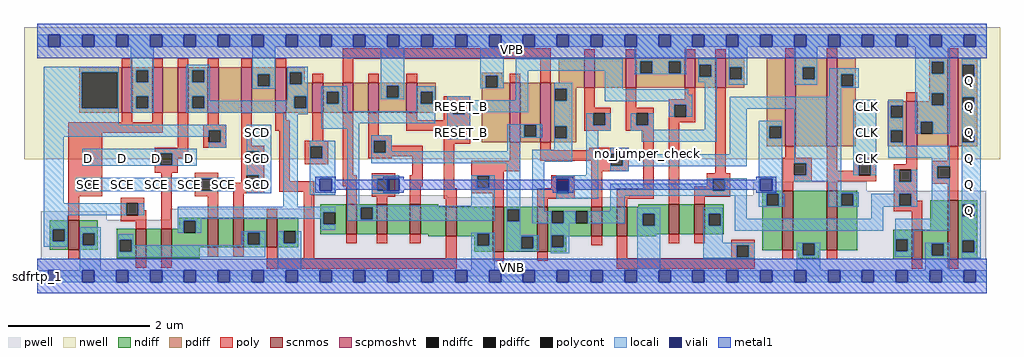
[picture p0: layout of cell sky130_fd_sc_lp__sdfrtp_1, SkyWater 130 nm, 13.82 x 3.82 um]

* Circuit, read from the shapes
.subckt sky130_fd_sc_lp__sdfrtp_1 CLK D RESET_B SCD SCE VGND VNB VPB VPWR Q
XM1 VGND SCE n1 VNB sky130_fd_pr__nfet_01v8 w=0.42 l=0.15
XM2 n2 n1 n3 VNB sky130_fd_pr__nfet_01v8 w=0.42 l=0.15
XM3 n4 D n2 VNB sky130_fd_pr__nfet_01v8 w=0.42 l=0.15
XM4 n5 SCE n4 VNB sky130_fd_pr__nfet_01v8 w=0.42 l=0.15
XM5 n3 SCD n5 VNB sky130_fd_pr__nfet_01v8 w=0.42 l=0.15
XM6 VGND RESET_B n3 VNB sky130_fd_pr__nfet_01v8 w=0.42 l=0.15
XM7 n6 n7 n4 VNB sky130_fd_pr__nfet_01v8 w=0.42 l=0.15
XM8 n8 n9 n6 VNB sky130_fd_pr__nfet_01v8 w=0.42 l=0.15
XM9 n10 n11 n8 VNB sky130_fd_pr__nfet_01v8 w=0.42 l=0.15
XM10 VGND RESET_B n10 VNB sky130_fd_pr__nfet_01v8 w=0.42 l=0.15
XM11 n11 n6 VGND VNB sky130_fd_pr__nfet_01v8 w=0.64 l=0.15
XM12 n12 n9 n11 VNB sky130_fd_pr__nfet_01v8 w=0.64 l=0.15
XM13 n13 n7 n12 VNB sky130_fd_pr__nfet_01v8 w=0.42 l=0.15
XM14 VGND n14 n13 VNB sky130_fd_pr__nfet_01v8 w=0.42 l=0.15
XM15 n15 RESET_B VGND VNB sky130_fd_pr__nfet_01v8 w=0.42 l=0.15
XM16 n14 n12 n15 VNB sky130_fd_pr__nfet_01v8 w=0.42 l=0.15
XM17 VGND n7 n9 VNB sky130_fd_pr__nfet_01v8 w=0.84 l=0.15
XM18 n7 CLK VGND VNB sky130_fd_pr__nfet_01v8 w=0.84 l=0.15
XM19 VGND n12 n16 VNB sky130_fd_pr__nfet_01v8 w=0.42 l=0.15
XM20 Q n16 VGND VNB sky130_fd_pr__nfet_01v8 w=0.84 l=0.15
XM21 VPWR SCE n1 VPB sky130_fd_pr__pfet_01v8_hvt w=0.64 l=0.15
XM22 n17 SCE VPWR VPB sky130_fd_pr__pfet_01v8_hvt w=0.64 l=0.15
XM23 n4 D n17 VPB sky130_fd_pr__pfet_01v8_hvt w=0.64 l=0.15
XM24 n18 n1 n4 VPB sky130_fd_pr__pfet_01v8_hvt w=0.64 l=0.15
XM25 VPWR SCD n18 VPB sky130_fd_pr__pfet_01v8_hvt w=0.64 l=0.15
XM26 n4 RESET_B VPWR VPB sky130_fd_pr__pfet_01v8_hvt w=0.64 l=0.15
XM27 n6 n9 n4 VPB sky130_fd_pr__pfet_01v8_hvt w=0.42 l=0.15
XM28 n19 n7 n6 VPB sky130_fd_pr__pfet_01v8_hvt w=0.42 l=0.15
XM29 VPWR n11 n19 VPB sky130_fd_pr__pfet_01v8_hvt w=0.42 l=0.15
XM30 n6 RESET_B VPWR VPB sky130_fd_pr__pfet_01v8_hvt w=0.42 l=0.15
XM31 n11 n6 VPWR VPB sky130_fd_pr__pfet_01v8_hvt w=0.84 l=0.15
XM32 n12 n7 n11 VPB sky130_fd_pr__pfet_01v8_hvt w=0.84 l=0.15
XM33 n20 n9 n12 VPB sky130_fd_pr__pfet_01v8_hvt w=0.42 l=0.15
XM34 VPWR n14 n20 VPB sky130_fd_pr__pfet_01v8_hvt w=0.42 l=0.15
XM35 n14 RESET_B VPWR VPB sky130_fd_pr__pfet_01v8_hvt w=0.42 l=0.15
XM36 VPWR n12 n14 VPB sky130_fd_pr__pfet_01v8_hvt w=0.42 l=0.15
XM37 VPWR n7 n9 VPB sky130_fd_pr__pfet_01v8_hvt w=1.26 l=0.15
XM38 n7 CLK VPWR VPB sky130_fd_pr__pfet_01v8_hvt w=1.26 l=0.15
XM39 VPWR n12 n16 VPB sky130_fd_pr__pfet_01v8_hvt w=0.64 l=0.15
XM40 Q n16 VPWR VPB sky130_fd_pr__pfet_01v8_hvt w=1.26 l=0.15
.ends

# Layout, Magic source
magic
tech sky130A
magscale 1 2
<< nwell >>
rect -38 331 2726 704
<< pwell >>
rect 2027 241 2348 267
rect 2027 229 2687 241
rect 775 223 1161 229
rect 1676 223 2687 229
rect 775 191 2687 223
rect 9 160 197 184
rect 376 160 2687 191
rect 9 49 2687 160
rect 0 0 2688 49
<< scnmos >>
rect 88 74 118 158
rect 278 50 308 134
rect 350 50 380 134
rect 482 81 512 165
rect 554 81 584 165
rect 649 81 679 165
rect 875 119 905 203
rect 961 119 991 203
rect 1055 119 1085 203
rect 1157 113 1187 197
rect 1290 69 1320 197
rect 1415 69 1445 197
rect 1569 113 1599 197
rect 1641 113 1671 197
rect 1788 119 1818 203
rect 1860 119 1890 203
rect 2110 73 2140 241
rect 2235 73 2265 241
rect 2476 47 2506 131
rect 2578 47 2608 215
<< scpmoshvt >>
rect 239 463 269 591
rect 325 463 355 591
rect 397 463 427 591
rect 483 463 513 591
rect 577 463 607 591
rect 674 463 704 591
rect 779 463 809 547
rect 865 463 895 547
rect 937 463 967 547
rect 1045 463 1075 547
rect 1338 379 1368 547
rect 1424 379 1454 547
rect 1548 533 1578 617
rect 1666 533 1696 617
rect 1833 533 1863 617
rect 1919 533 1949 617
rect 2118 367 2148 619
rect 2235 367 2265 619
rect 2461 367 2491 495
rect 2578 367 2608 619
<< ndiff >>
rect 35 133 88 158
rect 35 99 43 133
rect 77 99 88 133
rect 35 74 88 99
rect 118 122 171 158
rect 402 157 482 165
rect 402 134 414 157
rect 118 88 129 122
rect 163 88 171 122
rect 118 74 171 88
rect 225 103 278 134
rect 225 69 233 103
rect 267 69 278 103
rect 225 50 278 69
rect 308 50 350 134
rect 380 123 414 134
rect 448 123 482 157
rect 380 81 482 123
rect 512 81 554 165
rect 584 123 649 165
rect 584 89 595 123
rect 629 89 649 123
rect 584 81 649 89
rect 679 127 739 165
rect 679 93 697 127
rect 731 93 739 127
rect 679 81 739 93
rect 380 50 460 81
rect 801 181 875 203
rect 801 147 809 181
rect 843 147 875 181
rect 801 119 875 147
rect 905 195 961 203
rect 905 161 916 195
rect 950 161 961 195
rect 905 119 961 161
rect 991 119 1055 203
rect 1085 197 1135 203
rect 2053 233 2110 241
rect 1702 197 1788 203
rect 1085 119 1157 197
rect 1107 113 1157 119
rect 1187 120 1290 197
rect 1187 113 1245 120
rect 1237 86 1245 113
rect 1279 86 1290 120
rect 1237 69 1290 86
rect 1320 189 1415 197
rect 1320 155 1331 189
rect 1365 155 1415 189
rect 1320 111 1415 155
rect 1320 77 1370 111
rect 1404 77 1415 111
rect 1320 69 1415 77
rect 1445 183 1569 197
rect 1445 149 1456 183
rect 1490 149 1524 183
rect 1558 149 1569 183
rect 1445 115 1569 149
rect 1445 81 1456 115
rect 1490 113 1569 115
rect 1599 113 1641 197
rect 1671 177 1788 197
rect 1671 143 1714 177
rect 1748 143 1788 177
rect 1671 119 1788 143
rect 1818 119 1860 203
rect 1890 177 1943 203
rect 1890 143 1901 177
rect 1935 143 1943 177
rect 1890 119 1943 143
rect 2053 199 2065 233
rect 2099 199 2110 233
rect 1671 113 1752 119
rect 1490 81 1498 113
rect 1445 69 1498 81
rect 2053 73 2110 199
rect 2140 93 2235 241
rect 2140 73 2167 93
rect 2155 59 2167 73
rect 2201 73 2235 93
rect 2265 233 2322 241
rect 2265 199 2276 233
rect 2310 199 2322 233
rect 2265 73 2322 199
rect 2528 131 2578 215
rect 2423 105 2476 131
rect 2201 59 2213 73
rect 2155 51 2213 59
rect 2423 71 2431 105
rect 2465 71 2476 105
rect 2423 47 2476 71
rect 2506 91 2578 131
rect 2506 57 2533 91
rect 2567 57 2578 91
rect 2506 47 2578 57
rect 2608 203 2661 215
rect 2608 169 2619 203
rect 2653 169 2661 203
rect 2608 101 2661 169
rect 2608 67 2619 101
rect 2653 67 2661 101
rect 2608 47 2661 67
<< pdiff >>
rect 118 577 239 591
rect 118 475 126 577
rect 228 475 239 577
rect 118 463 239 475
rect 269 583 325 591
rect 269 549 280 583
rect 314 549 325 583
rect 269 509 325 549
rect 269 475 280 509
rect 314 475 325 509
rect 269 463 325 475
rect 355 463 397 591
rect 427 583 483 591
rect 427 549 438 583
rect 472 549 483 583
rect 427 509 483 549
rect 427 475 438 509
rect 472 475 483 509
rect 427 463 483 475
rect 513 463 577 591
rect 607 571 674 591
rect 607 537 624 571
rect 658 537 674 571
rect 607 463 674 537
rect 704 577 757 591
rect 704 543 715 577
rect 749 547 757 577
rect 1258 568 1316 576
rect 749 543 779 547
rect 704 509 779 543
rect 704 475 727 509
rect 761 475 779 509
rect 704 463 779 475
rect 809 522 865 547
rect 809 488 820 522
rect 854 488 865 522
rect 809 463 865 488
rect 895 463 937 547
rect 967 539 1045 547
rect 967 505 989 539
rect 1023 505 1045 539
rect 967 463 1045 505
rect 1075 522 1128 547
rect 1075 488 1086 522
rect 1120 488 1128 522
rect 1258 534 1270 568
rect 1304 547 1316 568
rect 1476 547 1548 617
rect 1304 534 1338 547
rect 1075 463 1128 488
rect 1258 379 1338 534
rect 1368 428 1424 547
rect 1368 394 1379 428
rect 1413 394 1424 428
rect 1368 379 1424 394
rect 1454 533 1548 547
rect 1578 533 1666 617
rect 1696 609 1833 617
rect 1696 575 1707 609
rect 1741 575 1788 609
rect 1822 575 1833 609
rect 1696 533 1833 575
rect 1863 599 1919 617
rect 1863 565 1874 599
rect 1908 565 1919 599
rect 1863 533 1919 565
rect 1949 592 2002 617
rect 1949 558 1960 592
rect 1994 558 2002 592
rect 1949 533 2002 558
rect 1454 531 1526 533
rect 1454 497 1465 531
rect 1499 497 1526 531
rect 1454 425 1526 497
rect 1454 391 1465 425
rect 1499 391 1526 425
rect 1454 379 1526 391
rect 2065 424 2118 619
rect 2065 390 2073 424
rect 2107 390 2118 424
rect 2065 367 2118 390
rect 2148 592 2235 619
rect 2148 558 2167 592
rect 2201 558 2235 592
rect 2148 367 2235 558
rect 2265 572 2318 619
rect 2265 538 2276 572
rect 2310 538 2318 572
rect 2265 367 2318 538
rect 2525 607 2578 619
rect 2525 573 2533 607
rect 2567 573 2578 607
rect 2525 518 2578 573
rect 2525 495 2533 518
rect 2408 483 2461 495
rect 2408 449 2416 483
rect 2450 449 2461 483
rect 2408 413 2461 449
rect 2408 379 2416 413
rect 2450 379 2461 413
rect 2408 367 2461 379
rect 2491 484 2533 495
rect 2567 484 2578 518
rect 2491 437 2578 484
rect 2491 403 2502 437
rect 2536 403 2578 437
rect 2491 367 2578 403
rect 2608 599 2661 619
rect 2608 565 2619 599
rect 2653 565 2661 599
rect 2608 506 2661 565
rect 2608 472 2619 506
rect 2653 472 2661 506
rect 2608 413 2661 472
rect 2608 379 2619 413
rect 2653 379 2661 413
rect 2608 367 2661 379
<< ndiffc >>
rect 43 99 77 133
rect 129 88 163 122
rect 233 69 267 103
rect 414 123 448 157
rect 595 89 629 123
rect 697 93 731 127
rect 809 147 843 181
rect 916 161 950 195
rect 1245 86 1279 120
rect 1331 155 1365 189
rect 1370 77 1404 111
rect 1456 149 1490 183
rect 1524 149 1558 183
rect 1456 81 1490 115
rect 1714 143 1748 177
rect 1901 143 1935 177
rect 2065 199 2099 233
rect 2167 59 2201 93
rect 2276 199 2310 233
rect 2431 71 2465 105
rect 2533 57 2567 91
rect 2619 169 2653 203
rect 2619 67 2653 101
<< pdiffc >>
rect 126 475 228 577
rect 280 549 314 583
rect 280 475 314 509
rect 438 549 472 583
rect 438 475 472 509
rect 624 537 658 571
rect 715 543 749 577
rect 727 475 761 509
rect 820 488 854 522
rect 989 505 1023 539
rect 1086 488 1120 522
rect 1270 534 1304 568
rect 1379 394 1413 428
rect 1707 575 1741 609
rect 1788 575 1822 609
rect 1874 565 1908 599
rect 1960 558 1994 592
rect 1465 497 1499 531
rect 1465 391 1499 425
rect 2073 390 2107 424
rect 2167 558 2201 592
rect 2276 538 2310 572
rect 2533 573 2567 607
rect 2416 449 2450 483
rect 2416 379 2450 413
rect 2533 484 2567 518
rect 2502 403 2536 437
rect 2619 565 2653 599
rect 2619 472 2653 506
rect 2619 379 2653 413
<< poly >>
rect 239 591 269 617
rect 325 591 355 617
rect 397 591 427 617
rect 483 591 513 617
rect 577 591 607 617
rect 674 591 704 617
rect 865 615 1454 645
rect 1548 617 1578 643
rect 1666 617 1696 643
rect 1833 617 1863 643
rect 1919 617 1949 643
rect 2118 619 2148 645
rect 2235 619 2265 645
rect 2578 619 2608 645
rect 779 547 809 573
rect 865 547 895 615
rect 937 547 967 573
rect 1045 547 1075 573
rect 1338 547 1368 573
rect 1424 547 1454 615
rect 1151 493 1226 509
rect 239 436 269 463
rect 325 436 355 463
rect 88 406 355 436
rect 88 276 183 406
rect 397 364 427 463
rect 483 429 513 463
rect 332 348 427 364
rect 469 413 535 429
rect 469 379 485 413
rect 519 379 535 413
rect 469 363 535 379
rect 577 369 607 463
rect 674 441 704 463
rect 674 411 715 441
rect 332 314 348 348
rect 382 334 427 348
rect 577 353 643 369
rect 382 314 398 334
rect 332 292 398 314
rect 577 319 593 353
rect 627 319 643 353
rect 88 242 133 276
rect 167 242 183 276
rect 88 226 183 242
rect 88 158 118 226
rect 236 206 302 222
rect 236 172 252 206
rect 286 186 302 206
rect 286 172 308 186
rect 236 156 308 172
rect 278 134 308 156
rect 350 134 380 292
rect 446 276 512 292
rect 446 242 462 276
rect 496 242 512 276
rect 577 285 643 319
rect 577 265 593 285
rect 446 226 512 242
rect 482 165 512 226
rect 554 251 593 265
rect 627 251 643 285
rect 554 235 643 251
rect 685 269 715 411
rect 779 383 809 463
rect 757 367 823 383
rect 757 333 773 367
rect 807 333 823 367
rect 757 317 823 333
rect 865 285 895 463
rect 937 399 967 463
rect 1045 441 1075 463
rect 1151 459 1176 493
rect 1210 459 1226 493
rect 1151 441 1226 459
rect 1045 425 1226 441
rect 1045 411 1176 425
rect 937 383 1003 399
rect 937 349 953 383
rect 987 369 1003 383
rect 1151 391 1176 411
rect 1210 391 1226 425
rect 1151 375 1226 391
rect 1548 477 1578 533
rect 1666 477 1696 533
rect 1833 501 1863 533
rect 1788 485 1863 501
rect 1548 461 1624 477
rect 1548 427 1574 461
rect 1608 427 1624 461
rect 1548 411 1624 427
rect 1666 461 1746 477
rect 1666 427 1696 461
rect 1730 427 1746 461
rect 1666 411 1746 427
rect 987 349 1091 369
rect 937 339 1091 349
rect 937 333 1003 339
rect 685 239 784 269
rect 865 255 905 285
rect 554 165 584 235
rect 649 165 679 191
rect 88 48 118 74
rect 482 55 512 81
rect 554 55 584 81
rect 649 51 679 81
rect 754 51 784 239
rect 875 203 905 255
rect 947 275 1013 291
rect 1061 285 1091 339
rect 947 241 963 275
rect 997 241 1013 275
rect 947 225 1013 241
rect 1055 255 1091 285
rect 961 203 991 225
rect 1055 203 1085 255
rect 1151 249 1181 375
rect 1338 327 1368 379
rect 1424 357 1454 379
rect 1563 357 1674 363
rect 1424 347 1674 357
rect 1424 327 1624 347
rect 1229 297 1368 327
rect 1569 313 1624 327
rect 1658 313 1674 347
rect 1569 297 1674 313
rect 1229 284 1320 297
rect 1229 250 1245 284
rect 1279 250 1320 284
rect 1151 219 1187 249
rect 1229 234 1320 250
rect 1455 269 1521 285
rect 1455 249 1471 269
rect 1157 197 1187 219
rect 1290 197 1320 234
rect 1415 235 1471 249
rect 1505 235 1521 269
rect 1415 219 1521 235
rect 1415 197 1445 219
rect 1569 197 1599 297
rect 1716 249 1746 411
rect 1641 219 1746 249
rect 1788 451 1804 485
rect 1838 451 1863 485
rect 1788 435 1863 451
rect 1641 197 1671 219
rect 1788 203 1818 435
rect 1919 291 1949 533
rect 2461 495 2491 521
rect 2118 335 2148 367
rect 2110 319 2193 335
rect 1896 275 1962 291
rect 1896 255 1912 275
rect 1860 241 1912 255
rect 1946 241 1962 275
rect 2110 285 2143 319
rect 2177 285 2193 319
rect 2110 269 2193 285
rect 2235 299 2265 367
rect 2310 319 2376 335
rect 2310 299 2326 319
rect 2235 285 2326 299
rect 2360 285 2376 319
rect 2461 317 2491 367
rect 2578 327 2608 367
rect 2235 269 2376 285
rect 2425 301 2491 317
rect 2110 241 2140 269
rect 2235 241 2265 269
rect 2425 267 2441 301
rect 2475 267 2491 301
rect 1860 225 1962 241
rect 1860 203 1890 225
rect 875 93 905 119
rect 961 93 991 119
rect 1055 93 1085 119
rect 1157 51 1187 113
rect 1569 87 1599 113
rect 278 24 308 50
rect 350 24 380 50
rect 649 21 1187 51
rect 1290 43 1320 69
rect 1415 43 1445 69
rect 1641 51 1671 113
rect 1788 93 1818 119
rect 1860 93 1890 119
rect 1965 87 2031 103
rect 1965 53 1981 87
rect 2015 53 2031 87
rect 1965 51 2031 53
rect 1641 21 2031 51
rect 2110 47 2140 73
rect 2425 233 2491 267
rect 2533 311 2608 327
rect 2533 277 2549 311
rect 2583 277 2608 311
rect 2533 261 2608 277
rect 2425 199 2441 233
rect 2475 213 2491 233
rect 2578 215 2608 261
rect 2475 199 2506 213
rect 2425 183 2506 199
rect 2476 131 2506 183
rect 2235 47 2265 73
rect 2476 21 2506 47
rect 2578 21 2608 47
<< polycont >>
rect 485 379 519 413
rect 348 314 382 348
rect 593 319 627 353
rect 133 242 167 276
rect 252 172 286 206
rect 462 242 496 276
rect 593 251 627 285
rect 773 333 807 367
rect 1176 459 1210 493
rect 953 349 987 383
rect 1176 391 1210 425
rect 1574 427 1608 461
rect 1696 427 1730 461
rect 963 241 997 275
rect 1624 313 1658 347
rect 1245 250 1279 284
rect 1471 235 1505 269
rect 1804 451 1838 485
rect 1912 241 1946 275
rect 2143 285 2177 319
rect 2326 285 2360 319
rect 2441 267 2475 301
rect 1981 53 2015 87
rect 2549 277 2583 311
rect 2441 199 2475 233
<< locali >>
rect 0 649 31 683
rect 65 649 127 683
rect 161 649 223 683
rect 257 649 319 683
rect 353 649 415 683
rect 449 649 511 683
rect 545 649 607 683
rect 641 649 703 683
rect 737 649 799 683
rect 833 649 895 683
rect 929 649 991 683
rect 1025 649 1087 683
rect 1121 649 1183 683
rect 1217 649 1279 683
rect 1313 649 1375 683
rect 1409 649 1471 683
rect 1505 649 1567 683
rect 1601 649 1663 683
rect 1697 649 1759 683
rect 1793 649 1855 683
rect 1889 649 1951 683
rect 1985 649 2047 683
rect 2081 649 2143 683
rect 2177 649 2239 683
rect 2273 649 2335 683
rect 2369 649 2431 683
rect 2465 649 2527 683
rect 2561 649 2623 683
rect 2657 649 2688 683
rect 18 577 230 593
rect 18 475 126 577
rect 228 475 230 577
rect 18 429 230 475
rect 264 583 330 649
rect 264 549 280 583
rect 314 549 330 583
rect 264 509 330 549
rect 264 475 280 509
rect 314 475 330 509
rect 264 463 330 475
rect 422 583 488 599
rect 422 549 438 583
rect 472 549 488 583
rect 422 509 488 549
rect 608 571 674 649
rect 608 537 624 571
rect 658 537 674 571
rect 608 531 674 537
rect 708 577 765 593
rect 708 543 715 577
rect 749 543 765 577
rect 422 475 438 509
rect 472 497 488 509
rect 708 509 765 543
rect 973 539 1039 649
rect 708 497 727 509
rect 472 475 727 497
rect 761 475 765 509
rect 422 463 765 475
rect 696 459 765 463
rect 804 522 877 538
rect 804 488 820 522
rect 854 488 877 522
rect 973 505 989 539
rect 1023 505 1039 539
rect 1254 568 1320 649
rect 973 501 1039 505
rect 1073 522 1126 538
rect 1254 534 1270 568
rect 1304 534 1320 568
rect 1254 532 1320 534
rect 1354 581 1657 615
rect 804 467 877 488
rect 1073 488 1086 522
rect 1120 488 1126 522
rect 1073 467 1126 488
rect 18 413 535 429
rect 18 395 485 413
rect 18 206 74 395
rect 519 379 535 413
rect 485 363 535 379
rect 127 348 451 361
rect 127 314 348 348
rect 382 314 451 348
rect 127 313 451 314
rect 593 353 662 429
rect 627 319 662 353
rect 593 285 662 319
rect 108 276 559 279
rect 108 242 133 276
rect 167 242 462 276
rect 496 242 559 276
rect 108 240 559 242
rect 627 251 662 285
rect 593 235 662 251
rect 18 172 252 206
rect 286 172 302 206
rect 696 197 737 459
rect 804 433 1126 467
rect 1160 498 1226 509
rect 1354 498 1390 581
rect 1160 493 1390 498
rect 1160 459 1176 493
rect 1210 464 1390 493
rect 1463 531 1515 547
rect 1463 497 1465 531
rect 1499 497 1515 531
rect 1210 459 1226 464
rect 804 417 911 433
rect 771 367 843 383
rect 771 333 773 367
rect 807 333 843 367
rect 771 276 843 333
rect 771 242 799 276
rect 833 242 843 276
rect 771 231 843 242
rect 877 199 911 417
rect 1160 425 1226 459
rect 945 383 1003 399
rect 1160 391 1176 425
rect 1210 391 1226 425
rect 1160 388 1226 391
rect 1331 428 1429 430
rect 1331 394 1379 428
rect 1413 394 1429 428
rect 1331 392 1429 394
rect 1463 425 1515 497
rect 1607 529 1657 581
rect 1691 609 1838 649
rect 1691 575 1707 609
rect 1741 575 1788 609
rect 1822 575 1838 609
rect 1691 571 1838 575
rect 1872 599 1924 615
rect 1872 565 1874 599
rect 1908 565 1924 599
rect 1872 549 1924 565
rect 1607 514 1843 529
rect 1607 495 1854 514
rect 1788 485 1854 495
rect 945 349 953 383
rect 987 354 1003 383
rect 1331 354 1367 392
rect 1463 391 1465 425
rect 1499 391 1515 425
rect 1463 358 1515 391
rect 987 349 1367 354
rect 945 320 1367 349
rect 947 276 1025 286
rect 947 275 991 276
rect 947 241 963 275
rect 997 241 1025 242
rect 947 233 1025 241
rect 1229 284 1295 286
rect 1229 250 1245 284
rect 1279 250 1295 284
rect 1229 199 1295 250
rect 398 181 843 197
rect 18 133 86 172
rect 398 163 809 181
rect 398 157 464 163
rect 18 99 43 133
rect 77 99 86 133
rect 18 83 86 99
rect 120 122 179 138
rect 398 123 414 157
rect 448 123 464 157
rect 803 147 809 163
rect 877 195 1295 199
rect 877 161 916 195
rect 950 161 1295 195
rect 877 157 1295 161
rect 1329 189 1367 320
rect 803 131 843 147
rect 1329 155 1331 189
rect 1365 155 1367 189
rect 579 123 645 127
rect 120 88 129 122
rect 163 88 179 122
rect 120 17 179 88
rect 229 103 271 119
rect 229 69 233 103
rect 267 87 271 103
rect 579 89 595 123
rect 629 89 645 123
rect 579 87 645 89
rect 267 69 645 87
rect 229 53 645 69
rect 681 93 697 127
rect 731 93 747 127
rect 681 17 747 93
rect 1229 120 1295 123
rect 1229 86 1245 120
rect 1279 86 1295 120
rect 1229 17 1295 86
rect 1329 115 1367 155
rect 1401 324 1515 358
rect 1554 427 1574 461
rect 1608 427 1624 461
rect 1554 411 1624 427
rect 1680 427 1696 461
rect 1730 427 1746 461
rect 1788 451 1804 485
rect 1838 451 1854 485
rect 1680 415 1746 427
rect 1890 415 1924 549
rect 1958 592 2010 649
rect 1958 558 1960 592
rect 1994 558 2010 592
rect 1958 542 2010 558
rect 2143 592 2208 649
rect 2143 558 2167 592
rect 2201 558 2208 592
rect 2486 607 2583 649
rect 2143 542 2208 558
rect 2242 572 2326 588
rect 2242 538 2276 572
rect 2310 538 2326 572
rect 2242 534 2326 538
rect 2486 573 2533 607
rect 2567 573 2583 607
rect 2242 508 2276 534
rect 1680 411 1924 415
rect 1401 183 1435 324
rect 1554 285 1588 411
rect 1712 381 1924 411
rect 1960 474 2276 508
rect 2486 518 2583 573
rect 1622 347 1674 363
rect 1622 313 1624 347
rect 1658 345 1674 347
rect 1960 345 2009 474
rect 1658 313 2009 345
rect 1622 311 2009 313
rect 2043 424 2109 440
rect 2043 390 2073 424
rect 2107 390 2109 424
rect 1622 297 1674 311
rect 1469 276 1588 285
rect 1469 235 1471 276
rect 1505 235 1588 276
rect 1896 275 2009 277
rect 1896 261 1912 275
rect 1469 219 1588 235
rect 1622 241 1912 261
rect 1946 241 2009 275
rect 1622 227 2009 241
rect 1622 183 1664 227
rect 1401 149 1456 183
rect 1490 149 1524 183
rect 1558 149 1664 183
rect 1698 177 1764 193
rect 1454 115 1506 149
rect 1329 111 1420 115
rect 1329 77 1370 111
rect 1404 77 1420 111
rect 1329 71 1420 77
rect 1454 81 1456 115
rect 1490 81 1506 115
rect 1454 65 1506 81
rect 1698 143 1714 177
rect 1748 143 1764 177
rect 1698 17 1764 143
rect 1885 177 1941 193
rect 1885 143 1901 177
rect 1935 143 1941 177
rect 1885 95 1941 143
rect 1975 163 2009 227
rect 2043 276 2109 390
rect 2043 242 2047 276
rect 2081 242 2109 276
rect 2143 319 2276 474
rect 2177 285 2276 319
rect 2310 319 2376 500
rect 2410 483 2452 499
rect 2410 449 2416 483
rect 2450 449 2452 483
rect 2410 413 2452 449
rect 2410 379 2416 413
rect 2450 379 2452 413
rect 2486 484 2533 518
rect 2567 484 2583 518
rect 2486 437 2583 484
rect 2486 403 2502 437
rect 2536 403 2583 437
rect 2617 599 2671 615
rect 2617 565 2619 599
rect 2653 565 2671 599
rect 2617 506 2671 565
rect 2617 472 2619 506
rect 2653 472 2671 506
rect 2617 413 2671 472
rect 2410 369 2452 379
rect 2617 379 2619 413
rect 2653 379 2671 413
rect 2410 335 2583 369
rect 2310 285 2326 319
rect 2360 285 2376 319
rect 2533 311 2583 335
rect 2143 269 2276 285
rect 2043 233 2109 242
rect 2240 237 2276 269
rect 2425 267 2441 301
rect 2475 267 2491 301
rect 2240 233 2326 237
rect 2425 233 2491 267
rect 2043 199 2065 233
rect 2099 199 2115 233
rect 2043 197 2115 199
rect 2240 199 2276 233
rect 2310 199 2326 233
rect 2240 197 2326 199
rect 2362 199 2441 233
rect 2475 199 2491 233
rect 2362 197 2491 199
rect 2533 277 2549 311
rect 2362 163 2396 197
rect 2533 163 2583 277
rect 1975 129 2396 163
rect 2430 129 2583 163
rect 2617 203 2671 379
rect 2617 169 2619 203
rect 2653 169 2671 203
rect 2430 105 2481 129
rect 1885 87 2031 95
rect 1885 53 1981 87
rect 2015 53 2031 87
rect 1885 51 2031 53
rect 2151 93 2217 95
rect 2151 59 2167 93
rect 2201 59 2217 93
rect 2151 17 2217 59
rect 2430 71 2431 105
rect 2465 71 2481 105
rect 2617 101 2671 169
rect 2430 55 2481 71
rect 2515 91 2583 95
rect 2515 57 2533 91
rect 2567 57 2583 91
rect 2515 17 2583 57
rect 2617 67 2619 101
rect 2653 67 2671 101
rect 2617 51 2671 67
rect 0 -17 31 17
rect 65 -17 127 17
rect 161 -17 223 17
rect 257 -17 319 17
rect 353 -17 415 17
rect 449 -17 511 17
rect 545 -17 607 17
rect 641 -17 703 17
rect 737 -17 799 17
rect 833 -17 895 17
rect 929 -17 991 17
rect 1025 -17 1087 17
rect 1121 -17 1183 17
rect 1217 -17 1279 17
rect 1313 -17 1375 17
rect 1409 -17 1471 17
rect 1505 -17 1567 17
rect 1601 -17 1663 17
rect 1697 -17 1759 17
rect 1793 -17 1855 17
rect 1889 -17 1951 17
rect 1985 -17 2047 17
rect 2081 -17 2143 17
rect 2177 -17 2239 17
rect 2273 -17 2335 17
rect 2369 -17 2431 17
rect 2465 -17 2527 17
rect 2561 -17 2623 17
rect 2657 -17 2688 17
<< viali >>
rect 31 649 65 683
rect 127 649 161 683
rect 223 649 257 683
rect 319 649 353 683
rect 415 649 449 683
rect 511 649 545 683
rect 607 649 641 683
rect 703 649 737 683
rect 799 649 833 683
rect 895 649 929 683
rect 991 649 1025 683
rect 1087 649 1121 683
rect 1183 649 1217 683
rect 1279 649 1313 683
rect 1375 649 1409 683
rect 1471 649 1505 683
rect 1567 649 1601 683
rect 1663 649 1697 683
rect 1759 649 1793 683
rect 1855 649 1889 683
rect 1951 649 1985 683
rect 2047 649 2081 683
rect 2143 649 2177 683
rect 2239 649 2273 683
rect 2335 649 2369 683
rect 2431 649 2465 683
rect 2527 649 2561 683
rect 2623 649 2657 683
rect 799 242 833 276
rect 991 275 1025 276
rect 991 242 997 275
rect 997 242 1025 275
rect 1471 269 1505 276
rect 1471 242 1505 269
rect 2047 242 2081 276
rect 31 -17 65 17
rect 127 -17 161 17
rect 223 -17 257 17
rect 319 -17 353 17
rect 415 -17 449 17
rect 511 -17 545 17
rect 607 -17 641 17
rect 703 -17 737 17
rect 799 -17 833 17
rect 895 -17 929 17
rect 991 -17 1025 17
rect 1087 -17 1121 17
rect 1183 -17 1217 17
rect 1279 -17 1313 17
rect 1375 -17 1409 17
rect 1471 -17 1505 17
rect 1567 -17 1601 17
rect 1663 -17 1697 17
rect 1759 -17 1793 17
rect 1855 -17 1889 17
rect 1951 -17 1985 17
rect 2047 -17 2081 17
rect 2143 -17 2177 17
rect 2239 -17 2273 17
rect 2335 -17 2369 17
rect 2431 -17 2465 17
rect 2527 -17 2561 17
rect 2623 -17 2657 17
<< metal1 >>
rect 0 683 2688 715
rect 0 649 31 683
rect 65 649 127 683
rect 161 649 223 683
rect 257 649 319 683
rect 353 649 415 683
rect 449 649 511 683
rect 545 649 607 683
rect 641 649 703 683
rect 737 649 799 683
rect 833 649 895 683
rect 929 649 991 683
rect 1025 649 1087 683
rect 1121 649 1183 683
rect 1217 649 1279 683
rect 1313 649 1375 683
rect 1409 649 1471 683
rect 1505 649 1567 683
rect 1601 649 1663 683
rect 1697 649 1759 683
rect 1793 649 1855 683
rect 1889 649 1951 683
rect 1985 649 2047 683
rect 2081 649 2143 683
rect 2177 649 2239 683
rect 2273 649 2335 683
rect 2369 649 2431 683
rect 2465 649 2527 683
rect 2561 649 2623 683
rect 2657 649 2688 683
rect 0 617 2688 649
rect 787 276 845 282
rect 787 242 799 276
rect 833 273 845 276
rect 979 276 1037 282
rect 979 273 991 276
rect 833 245 991 273
rect 833 242 845 245
rect 787 236 845 242
rect 979 242 991 245
rect 1025 273 1037 276
rect 1459 276 1517 282
rect 1459 273 1471 276
rect 1025 245 1471 273
rect 1025 242 1037 245
rect 979 236 1037 242
rect 1459 242 1471 245
rect 1505 273 1517 276
rect 2035 276 2093 282
rect 2035 273 2047 276
rect 1505 245 2047 273
rect 1505 242 1517 245
rect 1459 236 1517 242
rect 2035 242 2047 245
rect 2081 242 2093 276
rect 2035 236 2093 242
rect 0 17 2688 49
rect 0 -17 31 17
rect 65 -17 127 17
rect 161 -17 223 17
rect 257 -17 319 17
rect 353 -17 415 17
rect 449 -17 511 17
rect 545 -17 607 17
rect 641 -17 703 17
rect 737 -17 799 17
rect 833 -17 895 17
rect 929 -17 991 17
rect 1025 -17 1087 17
rect 1121 -17 1183 17
rect 1217 -17 1279 17
rect 1313 -17 1375 17
rect 1409 -17 1471 17
rect 1505 -17 1567 17
rect 1601 -17 1663 17
rect 1697 -17 1759 17
rect 1793 -17 1855 17
rect 1889 -17 1951 17
rect 1985 -17 2047 17
rect 2081 -17 2143 17
rect 2177 -17 2239 17
rect 2273 -17 2335 17
rect 2369 -17 2431 17
rect 2465 -17 2527 17
rect 2561 -17 2623 17
rect 2657 -17 2688 17
rect 0 -49 2688 -17
<< labels >>
flabel pwell s 0 0 2688 49 0 FreeSans 200 0 0 0 VNB
port 7 nsew ground bidirectional
flabel nwell s 0 617 2688 666 0 FreeSans 200 0 0 0 VPB
port 8 nsew power bidirectional
rlabel comment s 0 0 0 0 4 sdfrtp_1
flabel comment s 1729 347 1729 347 0 FreeSans 200 90 0 0 no_jumper_check
flabel metal1 s 0 617 2688 666 0 FreeSans 340 0 0 0 VPWR
port 9 nsew power bidirectional
flabel metal1 s 0 0 2688 49 0 FreeSans 340 0 0 0 VGND
port 6 nsew ground bidirectional
flabel locali s 127 242 161 276 0 FreeSans 340 0 0 0 SCE
port 5 nsew signal input
flabel locali s 223 242 257 276 0 FreeSans 340 0 0 0 SCE
port 5 nsew signal input
flabel locali s 319 242 353 276 0 FreeSans 340 0 0 0 SCE
port 5 nsew signal input
flabel locali s 415 242 449 276 0 FreeSans 340 0 0 0 SCE
port 5 nsew signal input
flabel locali s 511 242 545 276 0 FreeSans 340 0 0 0 SCE
port 5 nsew signal input
flabel locali s 1183 390 1217 424 0 FreeSans 340 0 0 0 RESET_B
port 3 nsew signal input
flabel locali s 1183 464 1217 498 0 FreeSans 340 0 0 0 RESET_B
port 3 nsew signal input
flabel locali s 2335 316 2369 350 0 FreeSans 340 0 0 0 CLK
port 1 nsew clock input
flabel locali s 2335 390 2369 424 0 FreeSans 340 0 0 0 CLK
port 1 nsew clock input
flabel locali s 2335 464 2369 498 0 FreeSans 340 0 0 0 CLK
port 1 nsew clock input
flabel locali s 607 242 641 276 0 FreeSans 340 0 0 0 SCD
port 4 nsew signal input
flabel locali s 607 316 641 350 0 FreeSans 340 0 0 0 SCD
port 4 nsew signal input
flabel locali s 607 390 641 424 0 FreeSans 340 0 0 0 SCD
port 4 nsew signal input
flabel locali s 127 316 161 350 0 FreeSans 340 0 0 0 D
port 2 nsew signal input
flabel locali s 223 316 257 350 0 FreeSans 340 0 0 0 D
port 2 nsew signal input
flabel locali s 319 316 353 350 0 FreeSans 340 0 0 0 D
port 2 nsew signal input
flabel locali s 415 316 449 350 0 FreeSans 340 0 0 0 D
port 2 nsew signal input
flabel locali s 2623 168 2657 202 0 FreeSans 340 0 0 0 Q
port 10 nsew signal output
flabel locali s 2623 242 2657 276 0 FreeSans 340 0 0 0 Q
port 10 nsew signal output
flabel locali s 2623 316 2657 350 0 FreeSans 340 0 0 0 Q
port 10 nsew signal output
flabel locali s 2623 390 2657 424 0 FreeSans 340 0 0 0 Q
port 10 nsew signal output
flabel locali s 2623 464 2657 498 0 FreeSans 340 0 0 0 Q
port 10 nsew signal output
flabel locali s 2623 538 2657 572 0 FreeSans 340 0 0 0 Q
port 10 nsew signal output
<< properties >>
string LEFsite unit
string LEFclass CORE
string FIXED_BBOX 0 0 2688 666
string GDS_FILE $PDKPATH/libs.ref/sky130_fd_sc_lp/gds/sky130_fd_sc_lp.gds
string LEFsymmetry X Y R90
string GDS_END 3145054
string GDS_START 3124212
<< end >>
